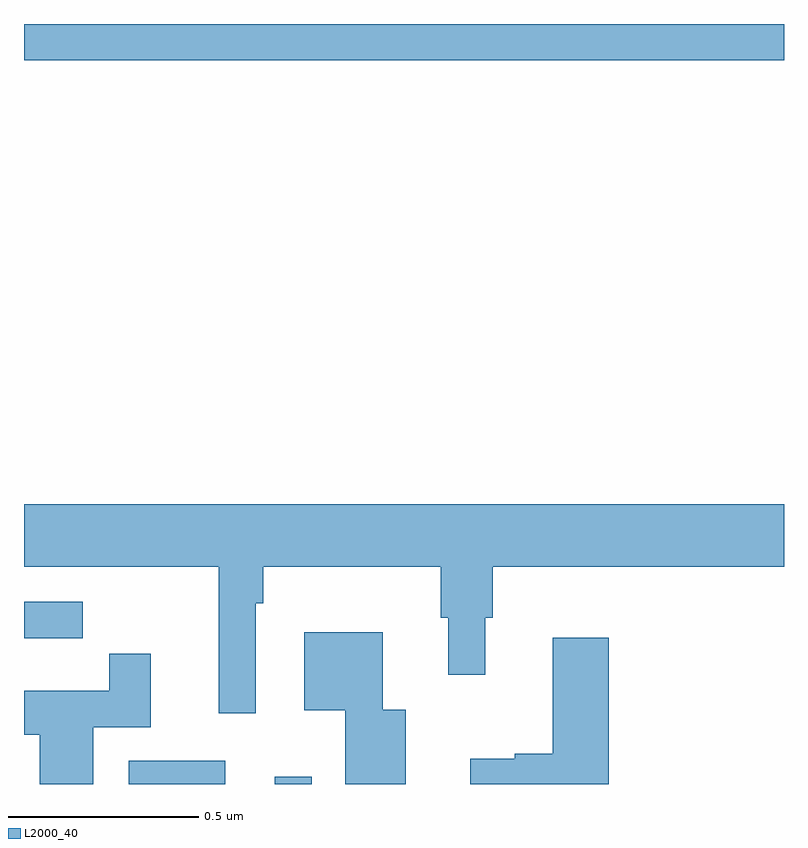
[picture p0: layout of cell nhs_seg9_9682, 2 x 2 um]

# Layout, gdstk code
import gdstk
lib = gdstk.Library(unit=1e-6, precision=1e-09)
def R(c, l, rs):  # rectangles x0, y0, x1, y1
    for r in rs: c.add(gdstk.rectangle(r[:2], r[2:], *l))
def P(c, l, *ps):  # polygons
    for p in ps: c.add(gdstk.Polygon(p, *l))
L2000_40 = (2000, 40)

nhs_seg9_9682 = lib.new_cell('nhs_seg9_9682')
R(nhs_seg9_9682, L2000_40, [(233.276,1210.5,233.53,1210.561), (233.66,1210.5,233.757,1210.519), (233,1212.404,235,1212.5)])
P(nhs_seg9_9682, L2000_40, [(233.61,1210.976),(233.63,1210.976),(233.63,1211.072),(234.097,1211.072),(234.097,1210.938),(234.116,1210.938),(234.116,1210.788),(234.214,1210.788),(234.214,1210.938),(234.233,1210.938),(234.233,1211.072),(235,1211.072),(235,1211.236),(233,1211.236),(233,1211.072),(233.513,1211.072),(233.513,1210.686),(233.61,1210.686)],
  [(233.042,1210.884),(233.155,1210.884),(233.155,1210.98),(233,1210.98),(233,1210.883),(233.042,1210.883)],
  [(234.004,1210.696),(233.944,1210.696),(233.944,1210.9),(233.738,1210.9),(233.738,1210.694),(233.846,1210.694),(233.846,1210.5),(234.004,1210.5)],
  [(234.539,1210.885),(234.392,1210.885),(234.392,1210.58),(234.291,1210.58),(234.291,1210.567),(234.174,1210.567),(234.174,1210.5),(234.539,1210.5)],
  [(233.182,1210.65),(233.333,1210.65),(233.333,1210.843),(233.224,1210.843),(233.224,1210.746),(233,1210.746),(233,1210.63),(233.042,1210.63),(233.042,1210.5),(233.182,1210.5)])

lib.write_gds('nhs_seg9_9682.gds')
